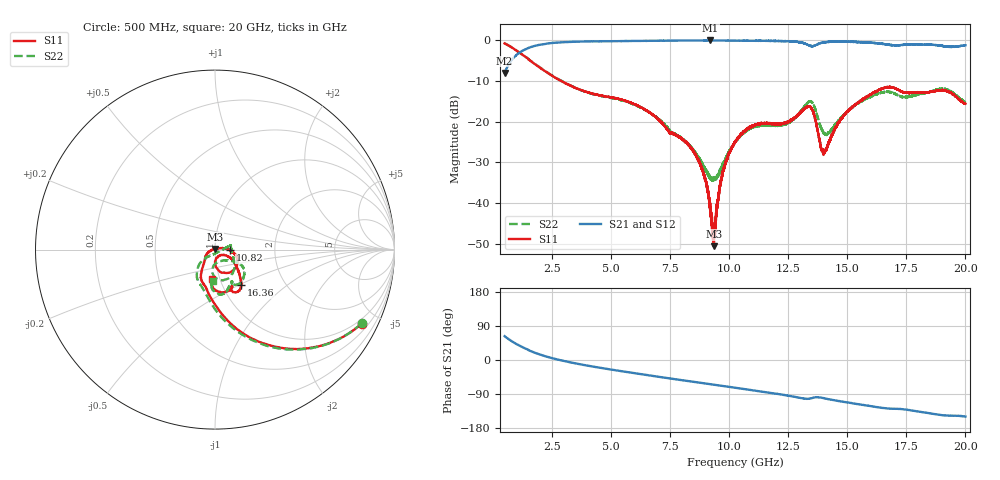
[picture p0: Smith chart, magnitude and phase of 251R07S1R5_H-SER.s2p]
!{201R07S1R5}
!Johanson Technology Inc.
!www.johansontechnology.com
!Test Board Conditions:
!Substrate Type  RO4350B
!Substrate Thickness  10 mil
!Substrate Dk  3.66
!TL Type: GCPW
!TL Trace Width  21 mil
!TL Gap  20 mil
!Electrode orientation  Horizontal
!DUT TOPOLOGY	SERIES
!Mounting Pad LxW  16x21 mil
!Agilent Technologies,N5230A,MY45001966,A.07.50.67
!Agilent N5230A: A.07.50.67
! Created Mon Mar  9 16:23:38 2020
# mhz S ma R 50
! 2 Port Network Data from SP1.SP block
! freq  magS11  angS11  magS21  angS21  magS12  angS12  magS22  angS22
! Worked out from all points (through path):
!   19501 points, 500 MHz to 20 GHz, reference 50 ohm
!   highest |S21| = -0.05 dB at 9.207 GHz (marker M1); lowest = -8.0 dB at 500 MHz (marker M2)
!   group delay of S21, straight-line fit = 26 ps
!   lowest |S11| = -50.6 dB at 9.36 GHz (marker M3), VSWR 1.01, Z = 50 + j0.295 ohm
!   |S11| at or under -10 dB: 2.887 GHz to end of sweep
!   |S22| runs from -34.5 to -0.8 dB; largest |S21 - S12| = 0.014
!   S11 on the Smith chart (normalised r, x): 500 MHz: 0.80, -4.04; 10.82 GHz: 1.18, -0.01; 16.36 GHz: 1.23, -0.51; 20 GHz: 0.91, -0.31
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500  0.9147 -26.8  0.3968 62.8  0.3982 62.9  0.9144 -26.7
1055  0.7278 -49.5  0.6792 40.2  0.678 40.1  0.7317 -49.6
1856  0.4912 -71.6  0.8629 17.4  0.8649 17.5  0.4949 -72.5
3750  0.2437 -98.9  0.9629 -11.9  0.9629 -11.9  0.2428 -103.4
5774  0.1739 -116.8  0.9781 -32.6  0.9784 -32.6  0.171 -126.2
7000  0.1069 -127.2  0.987 -44.1  0.9876 -44.2  0.1079 -138.2
8546  0.04086 -156.7  0.9904 -58.1  0.9907 -58.1  0.04249 -127.0
8966  0.02069 -169.6  0.9907 -61.8  0.9909 -61.9  0.0259 -109.7
9207  0.008496 175.1  0.994 -64.0  0.9896 -64.0  0.01989 -81.4
9360  0.002956 93.0  0.9914 -65.3  0.9912 -65.3  0.02013 -60.8
9717  0.02335 18.8  0.9907 -68.4  0.9893 -68.4  0.02953 -16.3
10250  0.05711 7.1  0.9893 -73.1  0.9877 -73.1  0.05669 6.7
10825  0.08236 -2.2  0.985 -78.3  0.9854 -78.2  0.08057 14.5
12472  0.09789 -9.7  0.975 -93.8  0.978 -93.9  0.09726 -10.1
13500  0.1425 -65.6  0.8466 -100.7  0.8456 -100.8  0.1734 -78.5
14026  0.04143 -52.7  0.9448 -101.1  0.9423 -101.3  0.07132 -78.1
14903  0.1223 -32.0  0.9598 -111.1  0.9572 -111.1  0.1246 -32.2
16358  0.2459 -53.3  0.9129 -125.4  0.9106 -125.2  0.2219 -44.3
16750  0.265 -60.7  0.8835 -128.0  0.875 -128.2  0.2326 -55.5
17482  0.2274 -67.1  0.8791 -130.9  0.8819 -130.7  0.2006 -61.8
19083  0.2417 -79.4  0.8439 -146.1  0.8505 -145.8  0.2519 -83.0
20000  0.1662 -96.1  0.8697 -149.2  0.8698 -149.1  0.173 -94.4
